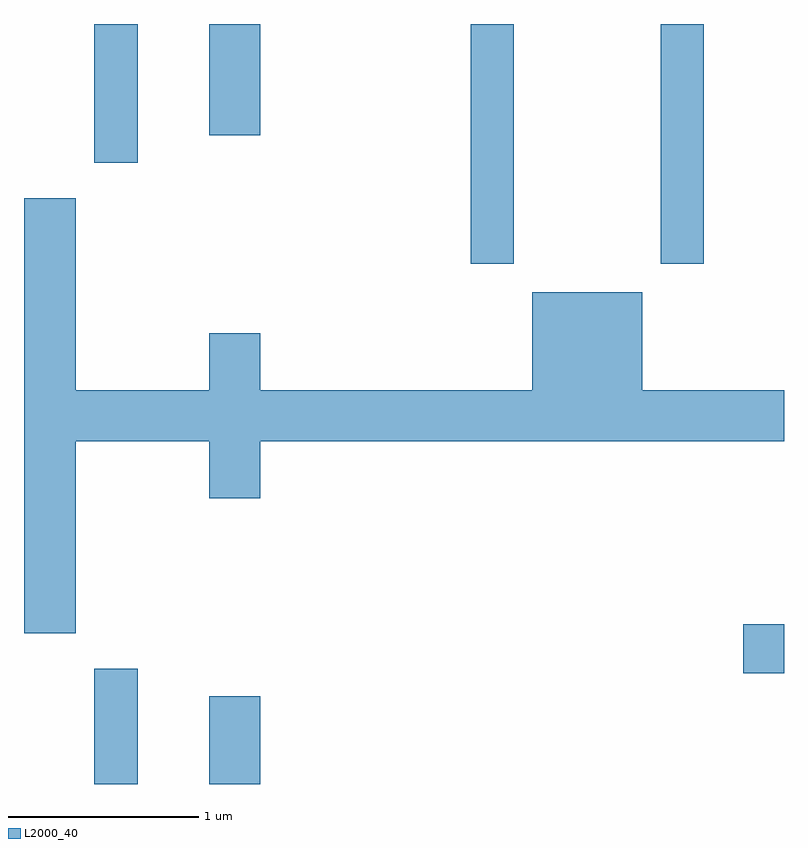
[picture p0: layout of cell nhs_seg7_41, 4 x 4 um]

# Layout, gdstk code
import gdstk
lib = gdstk.Library(unit=1e-6, precision=1e-09)
def R(c, l, rs):  # rectangles x0, y0, x1, y1
    for r in rs: c.add(gdstk.rectangle(r[:2], r[2:], *l))
def P(c, l, *ps):  # polygons
    for p in ps: c.add(gdstk.Polygon(p, *l))
L2000_40 = (2000, 40)

nhs_seg7_41 = lib.new_cell('nhs_seg7_41')
R(nhs_seg7_41, L2000_40, [(185.981,1750.252,186.209,1750.859), (186.586,1750.252,186.854,1750.714), (189.396,1750.836,189.611,1751.094), (187.961,1752.991,188.189,1754.252), (188.961,1752.991,189.189,1754.252), (185.981,1753.521,186.209,1754.252), (186.586,1753.666,186.854,1754.252)])
P(nhs_seg7_41, L2000_40, [(185.884,1752.056),(186.586,1752.056),(186.586,1751.756),(186.854,1751.756),(186.854,1752.056),(189.611,1752.056),(189.611,1752.324),(188.864,1752.324),(188.864,1752.839),(188.286,1752.839),(188.286,1752.324),(186.854,1752.324),(186.854,1752.624),(186.586,1752.624),(186.586,1752.324),(185.884,1752.324),(185.884,1753.334),(185.611,1753.334),(185.611,1751.046),(185.884,1751.046)])

lib.write_gds('nhs_seg7_41.gds')
